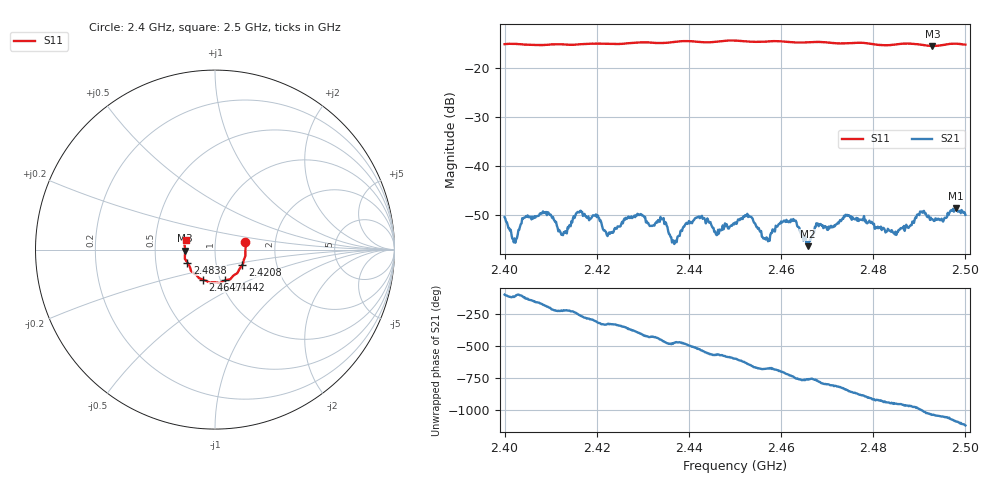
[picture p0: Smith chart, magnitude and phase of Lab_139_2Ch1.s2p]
# Hz S RI R 50
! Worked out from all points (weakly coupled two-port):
!   601 points, 2.4 GHz to 2.5 GHz, reference 50 ohm
!   highest |S21| = -48.61 dB at 2.498 GHz (marker M1); lowest = -56.4 dB at 2.4658 GHz (marker M2)
!   lowest |S11| = -15.6 dB at 2.4928 GHz (marker M3), VSWR 1.40, Z = 35.8 - j0.381 ohm
!   |S11| at or under -10 dB: start of sweep to end of sweep
!   S12 and S22 are empty: the file has one direction only
!   S11 on the Smith chart (normalised r, x): 2.4 GHz: 1.40, +0.12; 2.4208 GHz: 1.33, -0.24; 2.4442 GHz: 1.05, -0.37; 2.4647 GHz: 0.83, -0.29; 2.4838 GHz: 0.73, -0.11; 2.5 GHz: 0.72, +0.08
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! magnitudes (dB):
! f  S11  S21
! 2.4 GHz  -15.2  -50.5
! 2.4022 GHz  -15.2  -54.8
! 2.4045 GHz  -15.3  -50.5
! 2.4127 GHz  -15.3  -54.2
! 2.4167 GHz  -15.2  -49.4
! 2.4208 GHz  -15.1  -51.1
! 2.4333 GHz  -15.0  -51.1
! 2.4368 GHz  -14.8  -55.9
! 2.4442 GHz  -14.9  -51.1
! 2.45 GHz  -14.5  -51.6
! 2.4532 GHz  -14.7  -50.3
! 2.457 GHz  -14.7  -54.8
! 2.4627 GHz  -14.9  -50.9
! 2.4647 GHz  -14.9  -54.5
! 2.4658 GHz  -14.9  -56.4
! 2.4667 GHz  -14.8  -54.5
! 2.4742 GHz  -15.1  -50.1
! 2.4833 GHz  -15.5  -53.0
! 2.4838 GHz  -15.4  -53.4
! 2.4928 GHz  -15.6  -50.9
! 2.498 GHz  -15.1  -48.6
! 2.5 GHz  -15.3  -50.0
